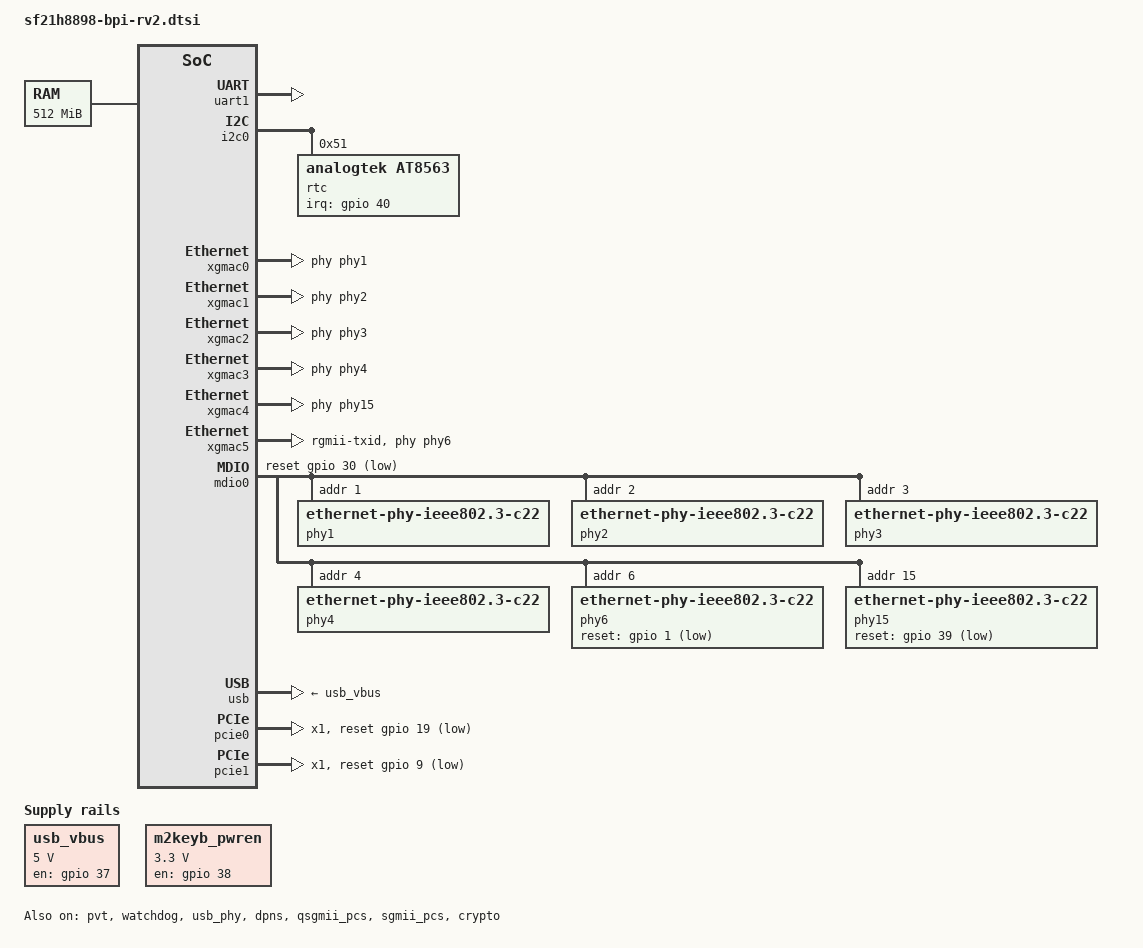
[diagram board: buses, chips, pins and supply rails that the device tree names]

#include "sf21h8898.dtsi"

/ {
	chosen {
		stdout-path = "serial1:115200n8";
	};

	memory@20000000 {
		device_type = "memory";
		reg = <0x0 0x20000000 0x0 0x20000000>;
	};

	usb_vbus: regulator@0 {
		compatible = "regulator-fixed";
		regulator-name = "usb_vbus";
		regulator-min-microvolt = <5000000>;
		regulator-max-microvolt = <5000000>;
		gpio = <&gpio 37 GPIO_ACTIVE_HIGH>;
		enable-active-high;
	};

	m2keyb_pwren: regulator@1 {
		compatible = "regulator-fixed";
		regulator-name = "m2keyb_pwren";
		regulator-min-microvolt = <3300000>;
		regulator-max-microvolt = <3300000>;
		gpio = <&gpio 38 GPIO_ACTIVE_HIGH>;
		enable-active-high;
		regulator-always-on;
	};
};

&spi0_pins {
	pinctrl-single,pins = <
		SPI0_TXD	FUNC_MODE0
		SPI0_RXD	FUNC_MODE0
		SPI0_CLK	FUNC_MODE0
		SPI0_HOLD	FUNC_MODE0
		SPI0_WP		FUNC_MODE0
	>;
};

&pvt {
	status = "okay";
};

&watchdog {
	status = "okay";
};

&uart1 {
	status = "okay";
};

&iomux {
	rtc_int_gpio: rtc-int-pins {
		pinctrl-single,pins = <PHY_INT GPIO_MODE>;
		// disable internal bias as it's externally (and weakly) pulled up
		pinctrl-single,bias-pullup = <0 SW_PU 0 SW_PU>;
		pinctrl-single,bias-pulldown = <0 SW_PD 0 SW_PD>;
	};
};

&i2c0 {
	status = "okay";

	rtc: rtc@51 {
		compatible = "analogtek,at8563", "nxp,pcf8563";
		reg = <0x51>;
		#clock-cells = <0>;
		interrupts-extended = <&gpio 40 IRQ_TYPE_LEVEL_LOW>;
		pinctrl-names = "default";
		pinctrl-0 = <&rtc_int_gpio>;
	};
};

&xgmac0 {
	status = "okay";
	phy-handle = <&phy1>;
	nvmem-cells = <&mtd_mac_address>;
	nvmem-cell-names = "mac-address";
};

&xgmac1 {
	status = "okay";
	phy-handle = <&phy2>;
	nvmem-cells = <&mtd_mac_address>;
	nvmem-cell-names = "mac-address";
};

&xgmac2 {
	status = "okay";
	phy-handle = <&phy3>;
	nvmem-cells = <&mtd_mac_address>;
	nvmem-cell-names = "mac-address";
};

&xgmac3 {
	status = "okay";
	phy-handle = <&phy4>;
	nvmem-cells = <&mtd_mac_address>;
	nvmem-cell-names = "mac-address";
};

&xgmac4 {
	status = "okay";
	phy-handle = <&phy15>;
	nvmem-cells = <&mtd_mac_address>;
	nvmem-cell-names = "mac-address";
	mac-address-increment = <1>;
	/delete-property/ pinctrl-0;
};

&xgmac5 {
	status = "okay";
	tx-internal-delay-ps = <2499>;
	rx-internal-delay-ps = <1519>;
	phy-mode = "rgmii-txid";
	phy-handle = <&phy6>;
	nvmem-cells = <&mtd_mac_address>;
	nvmem-cell-names = "mac-address";
};

&mdio0 {
	reset-gpios = <&gpio 30 GPIO_ACTIVE_LOW>;
	reset-delay-us = <10000>;
	reset-post-delay-us = <100000>;

	phy1: ethernet-phy@1 {
		compatible = "ethernet-phy-ieee802.3-c22";
		reg = <0x1>;
	};

	phy2: ethernet-phy@2 {
		compatible = "ethernet-phy-ieee802.3-c22";
		reg = <0x2>;
	};

	phy3: ethernet-phy@3 {
		compatible = "ethernet-phy-ieee802.3-c22";
		reg = <0x3>;
	};

	phy4: ethernet-phy@4 {
		compatible = "ethernet-phy-ieee802.3-c22";
		reg = <0x4>;
	};

	phy6: ethernet-phy@6 {
		compatible = "ethernet-phy-ieee802.3-c22";
		reg = <0x6>;
		reset-gpios = <&gpio 1 GPIO_ACTIVE_LOW>;
		reset-assert-us = <10000>;
		reset-deassert-us = <100000>;
	};

	phy15: ethernet-phy@f {
		compatible = "ethernet-phy-ieee802.3-c22";
		reg = <0xf>;
		reset-gpios = <&gpio 39 GPIO_ACTIVE_LOW>;
		reset-assert-us = <10000>;
		reset-deassert-us = <100000>;
	};
};

&usb_phy {
	status = "okay";
};

&usb {
	status = "okay";
	vbus-supply = <&usb_vbus>;
};

&dpns {
	status = "okay";
};

&edma {
	status = "okay";
};

&qsgmii_pcs {
	status = "okay";
};

&sgmii_pcs {
	status = "okay";
};

&crypto {
	status = "okay";
};

&pcie0 {
	reset-gpios = <&gpio 19 GPIO_ACTIVE_LOW>;
	reset-ms = <100>;
	num-lanes = <1>;
	lane-mode = <0>;
	status = "okay";
};

&pcie1 {
	reset-gpios = <&gpio 9 GPIO_ACTIVE_LOW>;
	reset-ms = <100>;
	num-lanes = <1>;
	lane-mode = <0>;
	status = "okay";
};
